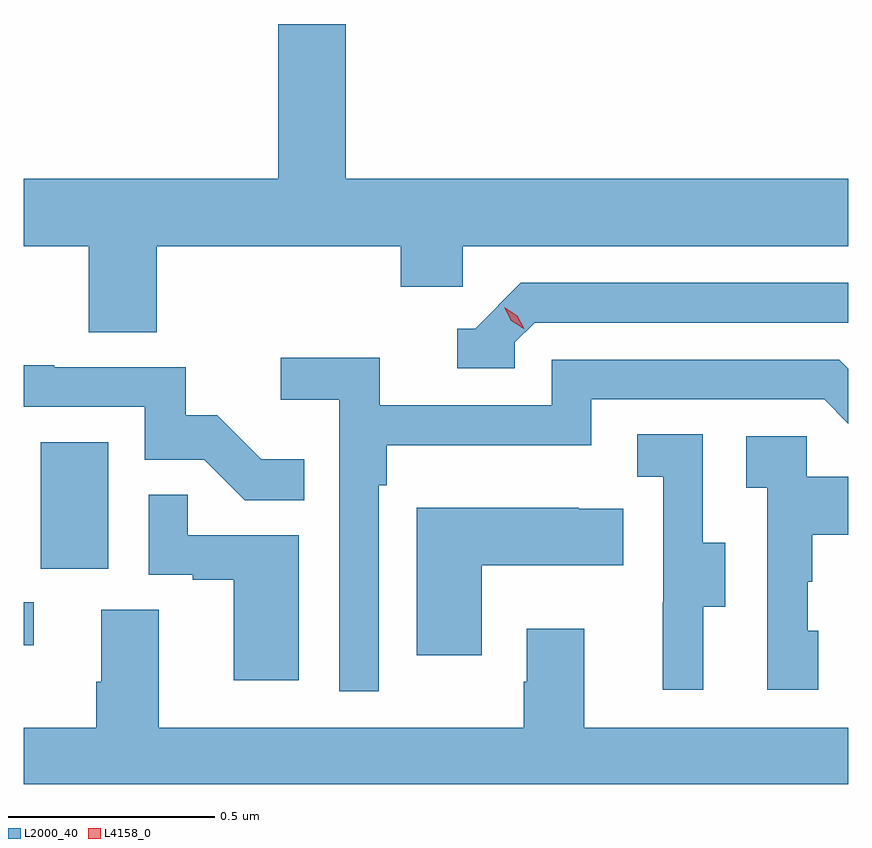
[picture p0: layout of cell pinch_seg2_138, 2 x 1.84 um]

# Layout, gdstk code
import gdstk
lib = gdstk.Library(unit=1e-6, precision=1e-09)
def R(c, l, rs):  # rectangles x0, y0, x1, y1
    for r in rs: c.add(gdstk.rectangle(r[:2], r[2:], *l))
def P(c, l, *ps):  # polygons
    for p in ps: c.add(gdstk.Polygon(p, *l))
L2000_40 = (2000, 40)
L4158_0 = (4158, 0)

pinch_seg2_138 = lib.new_cell('pinch_seg2_138')
R(pinch_seg2_138, L2000_40, [(1027.527,628.02,1027.552,628.125), (1027.568,628.206,1027.732,628.513)])
P(pinch_seg2_138, L2000_40, [(1027.85,628.988),(1028.441,628.988),(1028.441,628.89),(1028.592,628.89),(1028.592,628.988),(1029.527,628.988),(1029.527,629.152),(1028.308,629.152),(1028.308,629.527),(1028.144,629.527),(1028.144,629.152),(1027.527,629.152),(1027.527,628.988),(1027.685,628.988),(1027.685,628.78),(1027.85,628.78)],
  [(1028.718,628.755),(1028.766,628.803),(1029.527,628.803),(1029.527,628.899),(1028.733,628.899),(1028.622,628.788),(1028.579,628.788),(1028.579,628.692),(1028.718,628.692)],
  [(1028.388,628.409),(1028.408,628.409),(1028.408,628.505),(1028.904,628.505),(1028.904,628.617),(1029.468,628.617),(1029.527,628.558),(1029.527,628.691),(1029.505,628.713),(1028.808,628.713),(1028.808,628.602),(1028.39,628.602),(1028.39,628.718),(1028.151,628.718),(1028.151,628.616),(1028.292,628.616),(1028.292,627.909),(1028.388,627.909)],
  [(1028.207,628.471),(1028.103,628.471),(1027.996,628.578),(1027.92,628.578),(1027.92,628.695),(1027.601,628.695),(1027.601,628.7),(1027.527,628.7),(1027.527,628.599),(1027.821,628.599),(1027.821,628.47),(1027.965,628.47),(1028.063,628.372),(1028.207,628.372)],
  [(1029.175,628.114),(1029.229,628.114),(1029.229,628.269),(1029.174,628.269),(1029.174,628.532),(1029.015,628.532),(1029.015,628.429),(1029.078,628.429),(1029.078,628.125),(1029.077,628.125),(1029.077,627.912),(1029.175,627.912)],
  [(1029.454,628.056),(1029.429,628.056),(1029.429,628.175),(1029.439,628.175),(1029.439,628.289),(1029.527,628.289),(1029.527,628.429),(1029.426,628.429),(1029.426,628.527),(1029.279,628.527),(1029.279,628.403),(1029.33,628.403),(1029.33,627.912),(1029.454,627.912)],
  [(1028.194,628.287),(1027.925,628.287),(1027.925,628.385),(1027.83,628.385),(1027.83,628.191),(1027.937,628.191),(1027.937,628.179),(1028.036,628.179),(1028.036,627.936),(1028.194,627.936)],
  [(1028.638,628.214),(1028.981,628.214),(1028.981,628.351),(1028.873,628.351),(1028.873,628.354),(1028.48,628.354),(1028.48,627.996),(1028.638,627.996)],
  [(1029.527,627.82),(1028.887,627.82),(1028.887,628.06),(1028.747,628.06),(1028.747,627.932),(1028.74,627.932),(1028.74,627.82),(1027.855,627.82),(1027.855,628.106),(1027.715,628.106),(1027.715,627.932),(1027.703,627.932),(1027.703,627.82),(1027.527,627.82),(1027.527,627.684),(1029.527,627.684)])
P(pinch_seg2_138, L4158_0, [(1028.74,628.788),(1028.71,628.807),(1028.693,628.84),(1028.693,628.84),(1028.693,628.84),(1028.724,628.82),(1028.741,628.788),(1028.741,628.788)])

lib.write_gds('pinch_seg2_138.gds')
